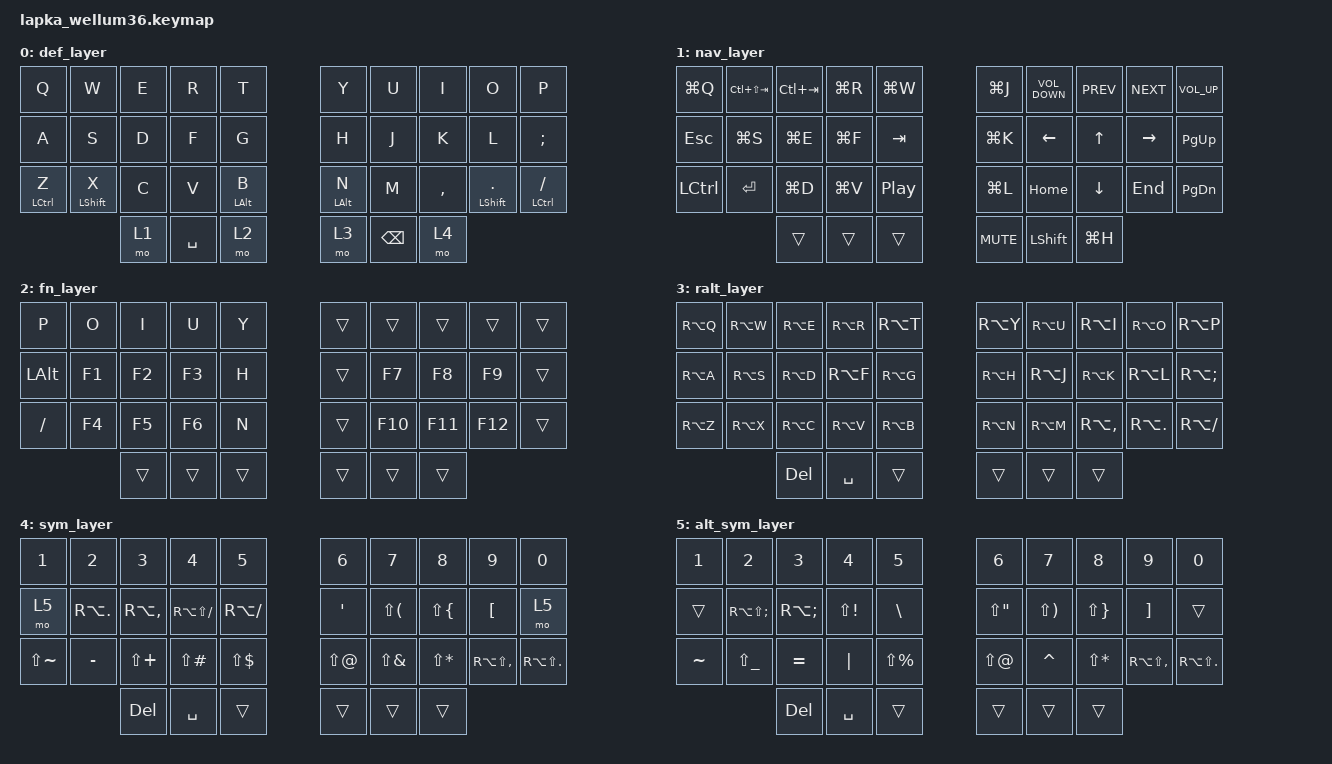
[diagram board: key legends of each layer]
#include <behaviors.dtsi>
#include <dt-bindings/zmk/keys.h>

/ {
    conditional_layers { compatible = "zmk,conditional-layers"; };

    combos {
        compatible = "zmk,combos";

        rus_left {
            bindings = <&kp LS(LG(NUMBER_1))>;
            key-positions = <21 22>;
        };

        eng_left {
            bindings = <&kp LG(LS(NUMBER_2))>;
            key-positions = <23 22>;
        };

        rus_right {
            bindings = <&kp LS(LG(NUMBER_1))>;
            key-positions = <27 28>;
        };

        eng_right {
            bindings = <&kp LG(LS(NUMBER_2))>;
            key-positions = <26 27>;
        };
    };

    keymap {
        compatible = "zmk,keymap";

        def_layer {
            bindings = <
&kp Q        &kp W             &kp E  &kp R      &kp T           &kp Y           &kp U          &kp I      &kp O               &kp P
&kp A        &kp S             &kp D  &kp F      &kp G           &kp H           &kp J          &kp K      &kp L               &kp SEMICOLON
&mt LCTRL Z  &mt LEFT_SHIFT X  &kp C  &kp V      &mt LEFT_ALT B  &mt LEFT_ALT N  &kp M          &kp COMMA  &mt LEFT_SHIFT DOT  &mt LCTRL SLASH
                               &mo 1  &kp SPACE  &mo 2           &mo 3           &kp BACKSPACE  &mo 4
            >;
        };

        nav_layer {
            bindings = <
&kp LG(Q)   &kp LC(LS(TAB))  &kp LC(TAB)  &kp LG(R)  &kp LG(W)         &kp LG(J)   &kp C_VOLUME_DOWN  &kp C_PREV      &kp C_NEXT       &kp C_VOLUME_UP
&kp ESCAPE  &kp LG(S)        &kp LG(E)    &kp LG(F)  &kp TAB           &kp LG(K)   &kp LEFT_ARROW     &kp UP_ARROW    &kp RIGHT_ARROW  &kp PG_UP
&kp LCTRL   &kp ENTER        &kp LG(D)    &kp LG(V)  &kp C_PLAY_PAUSE  &kp LG(L)   &kp HOME           &kp DOWN_ARROW  &kp END          &kp PAGE_DOWN
                             &trans       &trans     &trans            &kp C_MUTE  &kp LEFT_SHIFT     &kp LG(H)
            >;
        };

        fn_layer {
            bindings = <
&kp P      &kp O   &kp I   &kp U   &kp Y   &trans  &trans   &trans   &trans   &trans
&kp LALT   &kp F1  &kp F2  &kp F3  &kp H   &trans  &kp F7   &kp F8   &kp F9   &trans
&kp SLASH  &kp F4  &kp F5  &kp F6  &kp N   &trans  &kp F10  &kp F11  &kp F12  &trans
                   &trans  &trans  &trans  &trans  &trans   &trans
            >;
        };

        ralt_layer {
            bindings = <
&kp RA(Q)  &kp RA(W)  &kp RA(E)  &kp RA(R)  &kp RA(T)  &kp RA(Y)  &kp RA(U)  &kp RA(I)      &kp RA(O)       &kp RA(P)
&kp RA(A)  &kp RA(S)  &kp RA(D)  &kp RA(F)  &kp RA(G)  &kp RA(H)  &kp RA(J)  &kp RA(K)      &kp RA(L)       &kp RA(SEMI)
&kp RA(Z)  &kp RA(X)  &kp RA(C)  &kp RA(V)  &kp RA(B)  &kp RA(N)  &kp RA(M)  &kp RA(COMMA)  &kp RA(PERIOD)  &kp RA(FSLH)
                      &kp DEL    &kp SPACE  &trans     &trans     &trans     &trans
            >;
        };

        sym_layer {
            bindings = <
&kp N1         &kp N2       &kp N3         &kp N4            &kp N5        &kp N6      &kp N7        &kp N8        &kp N9             &kp N0
&mo 5          &kp RA(DOT)  &kp RA(COMMA)  &kp RA(LS(FSLH))  &kp RA(FSLH)  &kp APOS    &kp LS(LPAR)  &kp LS(LBRC)  &kp LBKT           &mo 5
&kp LS(TILDE)  &kp MINUS    &kp LS(PLUS)   &kp LS(POUND)     &kp LS(DLLR)  &kp LS(AT)  &kp LS(AMPS)  &kp LS(STAR)  &kp RA(LS(COMMA))  &kp RA(LS(DOT))
                            &kp DEL        &kp SPACE         &trans        &trans      &trans        &trans
            >;
        };

        alt_sym_layer {
            bindings = <
&kp N1     &kp N2            &kp N3        &kp N4        &kp N5         &kp N6       &kp N7        &kp N8        &kp N9             &kp N0
&trans     &kp RA(LS(SEMI))  &kp RA(SEMI)  &kp LS(EXCL)  &kp BSLH       &kp LS(DQT)  &kp LS(RPAR)  &kp LS(RBRC)  &kp RBKT           &trans
&kp TILDE  &kp LS(UNDER)     &kp EQUAL     &kp PIPE      &kp LS(PRCNT)  &kp LS(AT)   &kp CARET     &kp LS(STAR)  &kp RA(LS(COMMA))  &kp RA(LS(DOT))
                             &kp DEL       &kp SPACE     &trans         &trans       &trans        &trans
            >;
        };
    };
};

&mt {
    flavor = "tap-preferred";
    tapping-term-ms = <200>;
    quick-tap-ms = <100>;
    require-prior-idle-ms = <150>;
};
